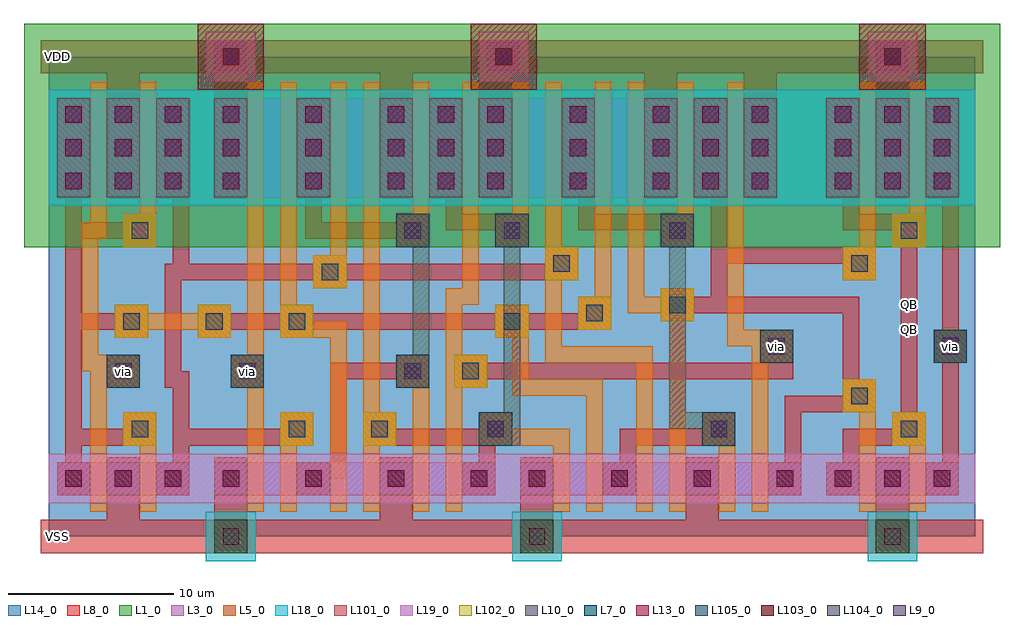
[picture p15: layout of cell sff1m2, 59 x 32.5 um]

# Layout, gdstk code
import gdstk
lib = gdstk.Library(unit=1e-6, precision=1e-09)
def R(c, l, rs):  # rectangles x0, y0, x1, y1
    for r in rs: c.add(gdstk.rectangle(r[:2], r[2:], *l))
L1_0 = (1, 0)
L3_0 = (3, 0)
L5_0 = (5, 0)
L7_0 = (7, 0)
L8_0 = (8, 0)
L9_0 = (9, 0)
L10_0 = (10, 0)
L13_0 = (13, 0)
L14_0 = (14, 0)
L18_0 = (18, 0)
L19_0 = (19, 0)
L101_0 = (101, 0)
L102_0 = (102, 0)
L103_0 = (103, 0)
L104_0 = (104, 0)
L105_0 = (105, 0)

pcont = lib.new_cell('pcont')
R(pcont, L5_0, [(-1,-1,1,1)])
R(pcont, L7_0, [(-0.5,-0.5,0.5,0.5)])
R(pcont, L8_0, [(-1,-1,1,1)])
R(pcont, L102_0, [(-1,-1,1,1)])
pcont.add(gdstk.Label('pcont', (0,0), layer=13, texttype=0))

dcont = lib.new_cell('dcont')
R(dcont, L3_0, [(-1,-1,1,1)])
R(dcont, L7_0, [(-0.5,-0.5,0.5,0.5)])
R(dcont, L8_0, [(-1,-1,1,1)])
R(dcont, L13_0, [(-0.5,-0.5,0.5,0.5)])
R(dcont, L101_0, [(-1,-1,1,1)])
dcont.add(gdstk.Label('dcont', (0,0), layer=13, texttype=0))

nsubcont = lib.new_cell('nsubcont')
R(nsubcont, L1_0, [(-2,-2,2,2)])
R(nsubcont, L19_0, [(-1.5,-1.5,1.5,1.5)])
R(nsubcont, L103_0, [(-2,-2,2,2)])
nsubcont.add(gdstk.Reference(dcont, (0,0)))
nsubcont.add(gdstk.Label('NScont', (0,0), layer=13, texttype=0))

via = lib.new_cell('Via')
R(via, L8_0, [(-1,-1,1,1)])
R(via, L9_0, [(-0.5,-0.5,0.5,0.5)])
R(via, L10_0, [(-1,-1,1,1)])
R(via, L13_0, [(-0.5,-0.5,0.5,0.5)])
R(via, L105_0, [(-1,-1,1,1)])
via.add(gdstk.Label('via', (0,0), layer=13, texttype=0))

psubcont = lib.new_cell('psubcont')
R(psubcont, L18_0, [(-1.5,-1.5,1.5,1.5)])
R(psubcont, L104_0, [(-1,-1,1,1)])
psubcont.add(gdstk.Reference(dcont, (0,0)))
psubcont.add(gdstk.Label('PScon', (0,0), layer=13, texttype=0))

sff1m2 = lib.new_cell('sff1m2')
R(sff1m2, L1_0, [(-1.5,17.5,57.5,31)])
R(sff1m2, L3_0, [(0.5,2.5,8.5,4.5), (10,2.5,27,4.5), (28.5,2.5,45.5,4.5), (47,2.5,55,4.5), (0.5,20.5,8.5,26.5), (10,20.5,44,26.5), (47,20.5,55,26.5)])
R(sff1m2, L8_0, [(-0.5,-1,56.5,1), (3.5,9,5.5,11), (11,9,13,11), (43,10.5,45,12.5), (53.5,10.5,55.5,12.5), (-0.5,28,56.5,30)])
R(sff1m2, L10_0, [(3.5,9,5.5,11), (11,9,13,11), (43,10.5,45,12.5), (53.5,10.5,55.5,12.5)])
R(sff1m2, L14_0, [(0,0,56,29)])
R(sff1m2, L18_0, [(0,20,56,27)])
R(sff1m2, L19_0, [(0,2,56,5)])
R(sff1m2, L105_0, [(3.5,9,5.5,11), (11,9,13,11), (43,10.5,45,12.5), (53.5,10.5,55.5,12.5)])
sff1m2.add(gdstk.FlexPath([(24.5,19),(24.5,21.4)], 1, ends="extended", simple_path=True, layer=8, datatype=0))  # L8_0
sff1m2.add(gdstk.FlexPath([(1.5,26),(1.5,3.6)], 1, ends="extended", simple_path=True, layer=8, datatype=0))  # L8_0
sff1m2.add(gdstk.FlexPath([(1.5,22.3),(1.5,25.5)], 1.4, ends="extended", simple_path=True, layer=8, datatype=0))  # L8_0
sff1m2.add(gdstk.FlexPath([(5.3,13),(1.8,13)], 1, ends="extended", simple_path=True, layer=8, datatype=0))  # L8_0
sff1m2.add(gdstk.FlexPath([(5.6,18.5),(1.5,18.5)], 1, ends="extended", simple_path=True, layer=8, datatype=0))  # L8_0
sff1m2.add(gdstk.FlexPath([(5.9,6),(1.5,6)], 1, ends="extended", simple_path=True, layer=8, datatype=0))  # L8_0
sff1m2.add(gdstk.FlexPath([(4.5,22.6),(4.5,28.5)], 2, ends="extended", simple_path=True, layer=8, datatype=0))  # L8_0
sff1m2.add(gdstk.FlexPath([(4.5,1),(4.5,3.8)], 2, ends="extended", simple_path=True, layer=8, datatype=0))  # L8_0
sff1m2.add(gdstk.FlexPath([(8,3.6),(8,9.5),(7.5,9.5),(7.5,16),(8,16),(8,26)], 1, ends="extended", simple_path=True, layer=8, datatype=0))  # L8_0
sff1m2.add(gdstk.FlexPath([(11,1),(11,3.8)], 2, ends="extended", simple_path=True, layer=8, datatype=0))  # L8_0
sff1m2.add(gdstk.FlexPath([(11,22.6),(11,28.5)], 2, ends="extended", simple_path=True, layer=8, datatype=0))  # L8_0
sff1m2.add(gdstk.FlexPath([(15,6),(8,6)], 1, ends="extended", simple_path=True, layer=8, datatype=0))  # L8_0
sff1m2.add(gdstk.FlexPath([(16,22.3),(16,25.5)], 1.4, ends="extended", simple_path=True, layer=8, datatype=0))  # L8_0
sff1m2.add(gdstk.FlexPath([(16,22.3),(16,18.5),(22,18.5)], 1, ends="extended", simple_path=True, layer=8, datatype=0))  # L8_0
sff1m2.add(gdstk.FlexPath([(16.3,3.8),(16.3,4),(17.5,4),(17.5,10),(22.4,10)], 1, ends="extended", simple_path=True, layer=8, datatype=0))  # L8_0
sff1m2.add(gdstk.FlexPath([(8.3,16),(31.3,16)], 1, ends="extended", simple_path=True, layer=8, datatype=0))  # L8_0
sff1m2.add(gdstk.FlexPath([(21,22.6),(21,28.5)], 2, ends="extended", simple_path=True, layer=8, datatype=0))  # L8_0
sff1m2.add(gdstk.FlexPath([(21,1),(21,3.8)], 2, ends="extended", simple_path=True, layer=8, datatype=0))  # L8_0
sff1m2.add(gdstk.FlexPath([(33.5,13),(10.3,13)], 1, ends="extended", simple_path=True, layer=8, datatype=0))  # L8_0
sff1m2.add(gdstk.FlexPath([(26.4,6),(20.5,6)], 1, ends="extended", simple_path=True, layer=8, datatype=0))  # L8_0
sff1m2.add(gdstk.FlexPath([(24,21.5),(24,25.5)], 1.4, ends="extended", simple_path=True, layer=8, datatype=0))  # L8_0
sff1m2.add(gdstk.FlexPath([(24.5,19),(27.8,19),(27.8,18.7)], 1, ends="extended", simple_path=True, layer=8, datatype=0))  # L8_0
sff1m2.add(gdstk.FlexPath([(26.5,3.5),(26.5,6.1)], 1, ends="extended", simple_path=True, layer=8, datatype=0))  # L8_0
sff1m2.add(gdstk.FlexPath([(27,23.8),(27,28.5)], 2, ends="extended", simple_path=True, layer=8, datatype=0))  # L8_0
sff1m2.add(gdstk.FlexPath([(29.5,1),(29.5,3.8)], 2, ends="extended", simple_path=True, layer=8, datatype=0))  # L8_0
sff1m2.add(gdstk.FlexPath([(32,22.3),(32,25.5)], 1.4, ends="extended", simple_path=True, layer=8, datatype=0))  # L8_0
sff1m2.add(gdstk.FlexPath([(25.6,10),(44.5,10)], 1, ends="extended", simple_path=True, layer=8, datatype=0))  # L8_0
sff1m2.add(gdstk.FlexPath([(32.5,22.6),(32.5,19),(38.5,19)], 1, ends="extended", simple_path=True, layer=8, datatype=0))  # L8_0
sff1m2.add(gdstk.FlexPath([(37,22.6),(37,28.5)], 2, ends="extended", simple_path=True, layer=8, datatype=0))  # L8_0
sff1m2.add(gdstk.FlexPath([(35,3.8),(35,6),(40.3,6)], 1, ends="extended", simple_path=True, layer=8, datatype=0))  # L8_0
sff1m2.add(gdstk.FlexPath([(39.5,1),(39.5,3.8)], 2, ends="extended", simple_path=True, layer=8, datatype=0))  # L8_0
sff1m2.add(gdstk.FlexPath([(40.5,14),(40.5,21.5)], 1, ends="extended", simple_path=True, layer=8, datatype=0))  # L8_0
sff1m2.add(gdstk.FlexPath([(43,22.6),(43,28.5)], 2, ends="extended", simple_path=True, layer=8, datatype=0))  # L8_0
sff1m2.add(gdstk.FlexPath([(45,3.8),(45,8),(48.5,8),(48.5,14),(38.4,14)], 1, ends="extended", simple_path=True, layer=8, datatype=0))  # L8_0
sff1m2.add(gdstk.FlexPath([(49.3,17),(40.5,17)], 1, ends="extended", simple_path=True, layer=8, datatype=0))  # L8_0
sff1m2.add(gdstk.FlexPath([(48,22.3),(48,25.5)], 1.4, ends="extended", simple_path=True, layer=8, datatype=0))  # L8_0
sff1m2.add(gdstk.FlexPath([(48.5,26),(48.5,19),(52,19),(52,6),(48.5,6),(48.5,3.6)], 1, ends="extended", simple_path=True, layer=8, datatype=0))  # L8_0
sff1m2.add(gdstk.FlexPath([(51,1),(51,3.8)], 2, ends="extended", simple_path=True, layer=8, datatype=0))  # L8_0
sff1m2.add(gdstk.FlexPath([(51,22.6),(51,28.5)], 2, ends="extended", simple_path=True, layer=8, datatype=0))  # L8_0
sff1m2.add(gdstk.FlexPath([(54,22.3),(54,25.5)], 1.4, ends="extended", simple_path=True, layer=8, datatype=0))  # L8_0
sff1m2.add(gdstk.FlexPath([(54.5,3.3),(54.5,26)], 1, ends="extended", simple_path=True, layer=8, datatype=0))  # L8_0
sff1m2.add(gdstk.FlexPath([(6,2),(6,7)], 1, ends="extended", simple_path=True, layer=5, datatype=0))  # L5_0
sff1m2.add(gdstk.FlexPath([(6,18.6),(6,27)], 1, ends="extended", simple_path=True, layer=5, datatype=0))  # L5_0
sff1m2.add(gdstk.FlexPath([(10,13),(5.1,13)], 1, ends="extended", simple_path=True, layer=5, datatype=0))  # L5_0
sff1m2.add(gdstk.FlexPath([(12.5,27),(12.5,2)], 1, ends="extended", simple_path=True, layer=5, datatype=0))  # L5_0
sff1m2.add(gdstk.FlexPath([(14.5,2),(14.5,6.8)], 1, ends="extended", simple_path=True, layer=5, datatype=0))  # L5_0
sff1m2.add(gdstk.FlexPath([(17.5,2),(17.5,12.5),(14.5,12.5),(14.5,27)], 1, ends="extended", simple_path=True, layer=5, datatype=0))  # L5_0
sff1m2.add(gdstk.FlexPath([(17.5,15.8),(17.5,27)], 1, ends="extended", simple_path=True, layer=5, datatype=0))  # L5_0
sff1m2.add(gdstk.FlexPath([(19.5,27),(19.5,2)], 1, ends="extended", simple_path=True, layer=5, datatype=0))  # L5_0
sff1m2.add(gdstk.FlexPath([(22.5,2),(22.5,10)], 1, ends="extended", simple_path=True, layer=5, datatype=0))  # L5_0
sff1m2.add(gdstk.FlexPath([(22.5,18.7),(22.5,27)], 1, ends="extended", simple_path=True, layer=5, datatype=0))  # L5_0
sff1m2.add(gdstk.FlexPath([(24.5,2),(24.5,14.5),(25.5,14.5),(25.5,27)], 1, ends="extended", simple_path=True, layer=5, datatype=0))  # L5_0
sff1m2.add(gdstk.FlexPath([(28,19),(28.5,19),(28.5,27)], 1, ends="extended", simple_path=True, layer=5, datatype=0))  # L5_0
sff1m2.add(gdstk.FlexPath([(31,2),(31,6),(27.3,6)], 1, ends="extended", simple_path=True, layer=5, datatype=0))  # L5_0
sff1m2.add(gdstk.FlexPath([(33,2),(33,9),(28.5,9),(28.5,13)], 1, ends="extended", simple_path=True, layer=5, datatype=0))  # L5_0
sff1m2.add(gdstk.FlexPath([(36,2),(36,11),(30.5,11),(30.5,27)], 1, ends="extended", simple_path=True, layer=5, datatype=0))  # L5_0
sff1m2.add(gdstk.FlexPath([(33.5,27),(33.5,13.7)], 1, ends="extended", simple_path=True, layer=5, datatype=0))  # L5_0
sff1m2.add(gdstk.FlexPath([(38,2),(38,14),(35.5,14),(35.5,27)], 1, ends="extended", simple_path=True, layer=5, datatype=0))  # L5_0
sff1m2.add(gdstk.FlexPath([(38.5,27),(38.5,18.7)], 1, ends="extended", simple_path=True, layer=5, datatype=0))  # L5_0
sff1m2.add(gdstk.FlexPath([(41,6.8),(41,2)], 1, ends="extended", simple_path=True, layer=5, datatype=0))  # L5_0
sff1m2.add(gdstk.FlexPath([(43,2),(43,12),(41.5,12),(41.5,27)], 1, ends="extended", simple_path=True, layer=5, datatype=0))  # L5_0
sff1m2.add(gdstk.FlexPath([(49.5,2),(49.5,8.9)], 1, ends="extended", simple_path=True, layer=5, datatype=0))  # L5_0
sff1m2.add(gdstk.FlexPath([(49.5,16.7),(49.5,27)], 1, ends="extended", simple_path=True, layer=5, datatype=0))  # L5_0
sff1m2.add(gdstk.FlexPath([(52.5,2),(52.5,6.5)], 1, ends="extended", simple_path=True, layer=5, datatype=0))  # L5_0
sff1m2.add(gdstk.FlexPath([(52.5,18.1),(52.5,27)], 1, ends="extended", simple_path=True, layer=5, datatype=0))  # L5_0
sff1m2.add(gdstk.FlexPath([(3,27),(3,18.5),(2.5,18.5),(2.5,10.5),(3,10.5),(3,2)], 1, ends="extended", simple_path=True, layer=5, datatype=0))  # L5_0
sff1m2.add(gdstk.FlexPath([(22.5,18.7),(22.5,10)], 1, ends="extended", simple_path=True, layer=10, datatype=0))  # L10_0
sff1m2.add(gdstk.FlexPath([(28,18.4),(28,6)], 1, ends="extended", simple_path=True, layer=10, datatype=0))  # L10_0
sff1m2.add(gdstk.FlexPath([(38,18.7),(38,7),(41,7)], 1, ends="extended", simple_path=True, layer=10, datatype=0))  # L10_0
sff1m2.add(gdstk.Reference(pcont, (38,14)))
sff1m2.add(gdstk.Reference(nsubcont, (27.5,29)))
sff1m2.add(gdstk.Reference(pcont, (28,13)))
sff1m2.add(gdstk.Reference(via, (28,18.5)))
sff1m2.add(gdstk.Reference(pcont, (28,18.5)))
sff1m2.add(gdstk.Reference(pcont, (38,18.5)))
sff1m2.add(gdstk.Reference(via, (38,18.5)))
sff1m2.add(gdstk.Reference(dcont, (37,25.5)))
sff1m2.add(gdstk.Reference(dcont, (51,25.5)))
sff1m2.add(gdstk.Reference(dcont, (48,23.5)))
sff1m2.add(gdstk.Reference(dcont, (51,23.5)))
sff1m2.add(gdstk.Reference(dcont, (37,21.5)))
sff1m2.add(gdstk.Reference(dcont, (43,25.5)))
sff1m2.add(gdstk.Reference(nsubcont, (51,29)))
sff1m2.add(gdstk.Reference(dcont, (40,23.5)))
sff1m2.add(gdstk.Reference(dcont, (43,23.5)))
sff1m2.add(gdstk.Reference(dcont, (54,21.5)))
sff1m2.add(gdstk.Reference(dcont, (51,21.5)))
sff1m2.add(gdstk.Reference(dcont, (54,23.5)))
sff1m2.add(gdstk.Reference(dcont, (43,21.5)))
sff1m2.add(gdstk.Reference(dcont, (54,25.5)))
sff1m2.add(gdstk.Reference(dcont, (32,25.5)))
sff1m2.add(gdstk.Reference(dcont, (40,25.5)))
sff1m2.add(gdstk.Reference(dcont, (48,25.5)))
sff1m2.add(gdstk.Reference(pcont, (49,16.5)))
sff1m2.add(gdstk.Reference(dcont, (40,21.5)))
sff1m2.add(gdstk.Reference(pcont, (31,16.5)))
sff1m2.add(gdstk.Reference(dcont, (32,23.5)))
sff1m2.add(gdstk.Reference(pcont, (52,18.5)))
sff1m2.add(gdstk.Reference(dcont, (37,23.5)))
sff1m2.add(gdstk.Reference(dcont, (48,21.5)))
sff1m2.add(gdstk.Reference(dcont, (32,21.5)))
sff1m2.add(gdstk.Reference(dcont, (27,25.5)))
sff1m2.add(gdstk.Reference(dcont, (24,25.5)))
sff1m2.add(gdstk.Reference(dcont, (21,21.5)))
sff1m2.add(gdstk.Reference(dcont, (4.5,23.5)))
sff1m2.add(gdstk.Reference(pcont, (5.5,18.5)))
sff1m2.add(gdstk.Reference(dcont, (21,25.5)))
sff1m2.add(gdstk.Reference(dcont, (24,23.5)))
sff1m2.add(gdstk.Reference(dcont, (4.5,25.5)))
sff1m2.add(gdstk.Reference(dcont, (21,23.5)))
sff1m2.add(gdstk.Reference(dcont, (4.5,21.5)))
sff1m2.add(gdstk.Reference(dcont, (16,25.5)))
sff1m2.add(gdstk.Reference(dcont, (16,23.5)))
sff1m2.add(gdstk.Reference(dcont, (11,21.5)))
sff1m2.add(gdstk.Reference(dcont, (7.5,23.5)))
sff1m2.add(gdstk.Reference(dcont, (11,25.5)))
sff1m2.add(gdstk.Reference(pcont, (22,18.5)))
sff1m2.add(gdstk.Reference(dcont, (7.5,25.5)))
sff1m2.add(gdstk.Reference(dcont, (24,21.5)))
sff1m2.add(gdstk.Reference(nsubcont, (11,29)))
sff1m2.add(gdstk.Reference(pcont, (17,16)))
sff1m2.add(gdstk.Reference(dcont, (16,21.5)))
sff1m2.add(gdstk.Reference(dcont, (1.5,21.5)))
sff1m2.add(gdstk.Reference(dcont, (7.5,21.5)))
sff1m2.add(gdstk.Reference(via, (22,18.5)))
sff1m2.add(gdstk.Reference(dcont, (11,23.5)))
sff1m2.add(gdstk.Reference(dcont, (27,23.5)))
sff1m2.add(gdstk.Reference(dcont, (1.5,23.5)))
sff1m2.add(gdstk.Reference(dcont, (1.5,25.5)))
sff1m2.add(gdstk.Reference(dcont, (27,21.5)))
sff1m2.add(gdstk.Reference(via, (12,10)))
sff1m2.add(gdstk.Reference(via, (22,10)))
sff1m2.add(gdstk.Reference(psubcont, (11,0)))
sff1m2.add(gdstk.Reference(via, (4.5,10)))
sff1m2.add(gdstk.Reference(via, (27,6.5)))
sff1m2.add(gdstk.Reference(dcont, (26,3.5)))
sff1m2.add(gdstk.Reference(pcont, (12,10)))
sff1m2.add(gdstk.Reference(pcont, (20,6.5)))
sff1m2.add(gdstk.Reference(pcont, (10,13)))
sff1m2.add(gdstk.Reference(dcont, (11,3.5)))
sff1m2.add(gdstk.Reference(pcont, (4.5,10)))
sff1m2.add(gdstk.Reference(pcont, (5,13)))
sff1m2.add(gdstk.Reference(dcont, (1.5,3.5)))
sff1m2.add(gdstk.Reference(dcont, (16,3.5)))
sff1m2.add(gdstk.Reference(dcont, (21,3.5)))
sff1m2.add(gdstk.Reference(pcont, (22,10)))
sff1m2.add(gdstk.Reference(pcont, (27,6.5)))
sff1m2.add(gdstk.Reference(dcont, (7.5,3.5)))
sff1m2.add(gdstk.Reference(pcont, (15,6.5)))
sff1m2.add(gdstk.Reference(dcont, (4.5,3.5)))
sff1m2.add(gdstk.Reference(pcont, (5.5,6.5)))
sff1m2.add(gdstk.Reference(pcont, (25.5,10)))
sff1m2.add(gdstk.Reference(pcont, (15,13)))
sff1m2.add(gdstk.Reference(psubcont, (51,0)))
sff1m2.add(gdstk.Reference(dcont, (54,3.5)))
sff1m2.add(gdstk.Reference(dcont, (51,3.5)))
sff1m2.add(gdstk.Reference(via, (54.5,11.5)))
sff1m2.add(gdstk.Reference(dcont, (29.5,3.5)))
sff1m2.add(gdstk.Reference(pcont, (49,8.5)))
sff1m2.add(gdstk.Reference(dcont, (39.5,3.5)))
sff1m2.add(gdstk.Reference(dcont, (48,3.5)))
sff1m2.add(gdstk.Reference(pcont, (44,11.5)))
sff1m2.add(gdstk.Reference(pcont, (52,6.5)))
sff1m2.add(gdstk.Reference(pcont, (33,13.5)))
sff1m2.add(gdstk.Reference(dcont, (44.5,3.5)))
sff1m2.add(gdstk.Reference(via, (44,11.5)))
sff1m2.add(gdstk.Reference(via, (40.5,6.5)))
sff1m2.add(gdstk.Reference(psubcont, (29.5,0)))
sff1m2.add(gdstk.Reference(dcont, (34.5,3.5)))
sff1m2.add(gdstk.Reference(pcont, (40.5,6.5)))
sff1m2.add(gdstk.Label('VDD', (0.5,29), layer=8, texttype=0))
sff1m2.add(gdstk.Label('VSS', (0.5,0), layer=8, texttype=0))
sff1m2.add(gdstk.Label('QB', (52,12.5), layer=8, texttype=0))
sff1m2.add(gdstk.Label('QB', (52,14), layer=8, texttype=0))
sff1m2.add(gdstk.Label('via', (54.5,11.5), layer=13, texttype=0))
sff1m2.add(gdstk.Label('via', (44,11.5), layer=13, texttype=0))
sff1m2.add(gdstk.Label('via', (12,10), layer=13, texttype=0))
sff1m2.add(gdstk.Label('via', (4.5,10), layer=13, texttype=0))
sff1m2.add(gdstk.Label('CK', (4.5,10), layer=10, texttype=0))
sff1m2.add(gdstk.Label('D', (12,10), layer=10, texttype=0))
sff1m2.add(gdstk.Label('S', (44,11.5), layer=10, texttype=0))
sff1m2.add(gdstk.Label('Q', (54.5,11.5), layer=10, texttype=0))

lib.write_gds('sff1m2.gds')
